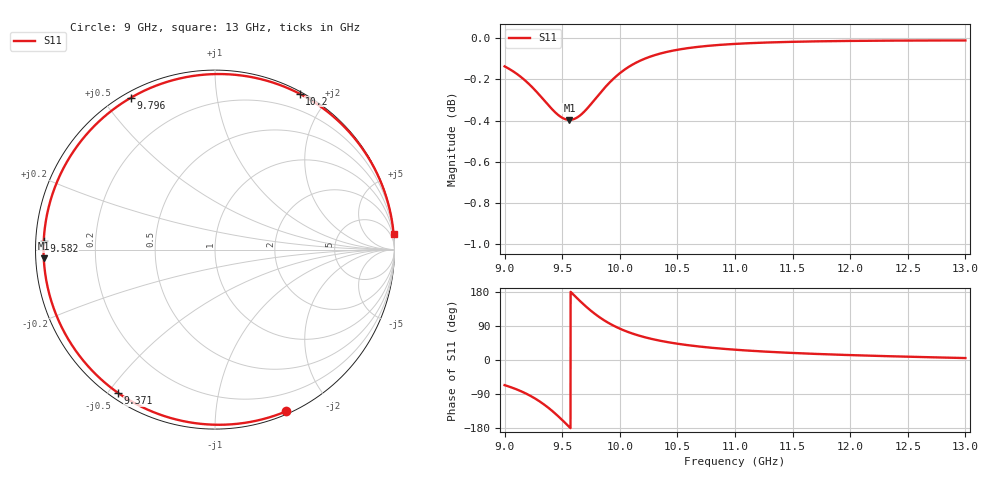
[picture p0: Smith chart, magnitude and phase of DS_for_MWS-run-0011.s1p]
! TOUCHSTONE file generated by CST DESIGN STUDIO
! Date and time: Tue Feb  4 13:24:04 2025
! Project name: C:\Work\MatlabApps\UnitCellOptimizationMatlab\CST\unitcell.cst
! Tree item: Tasks\Sweep1\SPara1\S-Parameters
! Header version: 2024
! Port assignment regex: !\s*Touchstone port\s*([0-9]+)\s*=\s*(CST MWS port|CST DES external port|CST DES block port)\s*(.+)\s* \(\"(.*)\"\)(\s*mode\s*([0-9]+))?.*
! Touchstone port assignment:
! Touchstone port 1 = CST DES external port 1 ("")
# GHz S MA R 50
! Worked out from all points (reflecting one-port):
!   4001 points, 9 GHz to 13 GHz, reference 50 ohm
!   lowest |S11| = -0.4 dB at 9.563 GHz (marker M1), VSWR 43.83, Z = 1.14 - j1.25 ohm
!   phase of S11 starts at -66 deg and turns -289 deg over the sweep
!   S11 on the Smith chart (normalised r, x): 9 GHz: 0.03, -1.53; 9.371 GHz: 0.02, -0.53; 9.582 GHz: 0.02, +0.02; 9.796 GHz: 0.02, +0.59; 10.2 GHz: 0.02, +1.68; 13 GHz: 0, +22
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9  0.9844 -66.3
9.043  0.9829 -70.6
9.11  0.9801 -78.2
9.224  0.974 -94.6
9.302  0.9688 -108.9
9.371  0.9639 -124.0
9.434  0.9597 -139.9
9.5  0.9565 -158.4
9.563  0.9554 -177.1
9.582  0.9555 177.1
9.637  0.957 160.7
9.697  0.9602 143.6
9.746  0.9636 130.8
9.796  0.9674 118.9
9.84  0.9707 109.5
9.888  0.974 100.3
9.94  0.9774 91.5
10  0.9807 82.7
10.095  0.9848 71.3
10.199  0.9882 61.5
10.337  0.9913 51.6
10.5  0.9936 43.0
10.721  0.9955 34.6
11  0.9969 27.2
11.5  0.9981 18.6
12  0.9986 12.9
12.5  0.9988 8.7
13  0.9988 5.1
